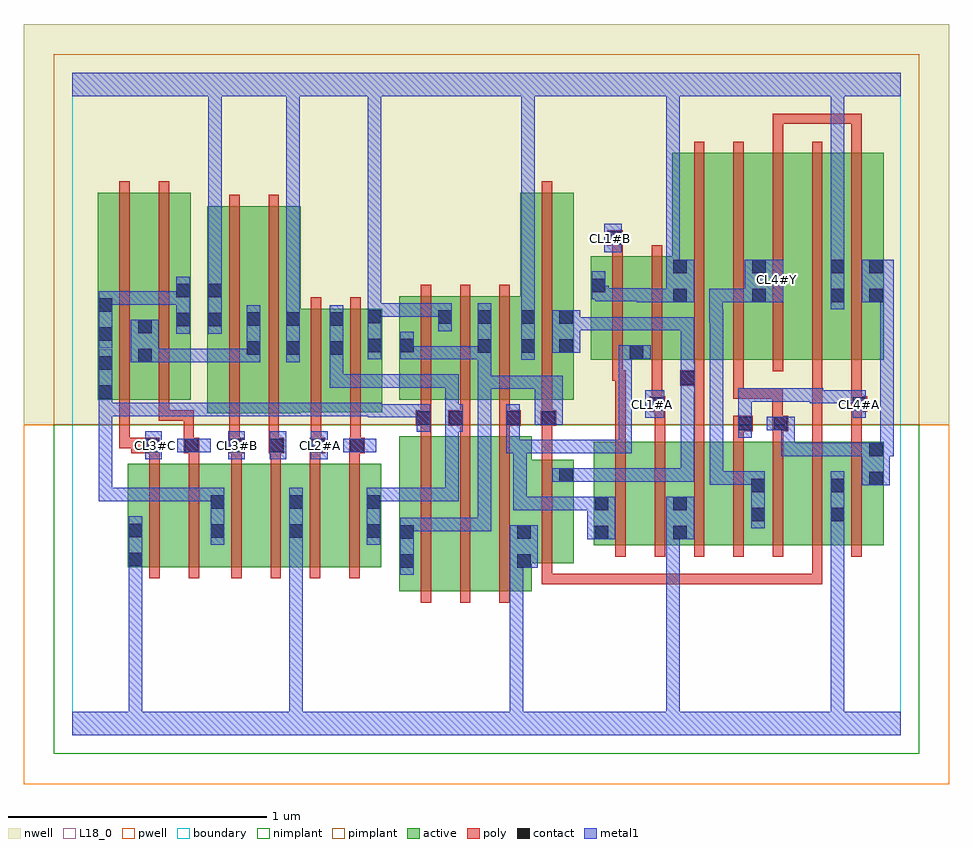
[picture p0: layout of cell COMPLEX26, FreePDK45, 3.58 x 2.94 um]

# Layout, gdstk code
import gdstk
lib = gdstk.Library(unit=1e-6, precision=1e-09)
def R(c, l, rs):  # rectangles x0, y0, x1, y1
    for r in rs: c.add(gdstk.rectangle(r[:2], r[2:], *l))
def A(c, l, x, y, w, h, nx, ny, dx, dy):  # array of equal rectangles
    R(c, l, [(x+i*dx, y+j*dy, x+i*dx+w, y+j*dy+h) for i in range(nx) for j in range(ny)])
active = (1, 0)
pwell = (2, 0)
nwell = (3, 0)
nimplant = (4, 0)
pimplant = (5, 0)
poly = (9, 0)
contact = (10, 0)
metal1 = (11, 0)
L18_0 = (18, 0)
boundary = (235, 0)

complex26 = lib.new_cell('COMPLEX26')
R(complex26, active, [(1.262,0.556,1.442,1.156), (1.262,0.556,1.322,1.156), (1.442,0.556,1.594,1.156), (1.594,0.556,1.774,1.156), (1.714,0.556,1.774,1.064), (0.214,0.65,0.274,1.05), (0.214,0.65,0.394,1.05), (0.394,0.65,0.59,1.05), (0.53,0.65,0.71,1.05), (0.71,0.65,0.894,1.05), (0.834,0.65,1.014,1.05), (1.014,0.65,1.194,1.05), (1.134,0.65,1.194,1.05), (1.714,0.664,1.938,1.064), (2.014,0.734,2.074,1.134), (2.014,0.734,2.194,1.134), (2.194,0.734,2.378,1.134), (2.318,0.734,2.498,1.134), (2.318,0.734,2.378,1.062), (2.498,0.734,2.678,1.134), (2.618,0.734,2.802,1.134), (2.618,0.734,2.678,1.134), (2.802,0.734,2.986,1.134), (2.926,0.734,3.134,1.134), (2.926,0.734,2.986,0.996), (0.53,0.756,0.59,1.05), (0.834,0.756,0.894,1.05), (1.878,0.756,1.938,1.064), (3.074,0.756,3.134,1.134), (0.522,1.244,0.73,2.044), (0.522,1.244,0.582,2.044), (0.67,1.244,0.882,2.044), (0.67,1.244,0.73,2.044), (0.822,1.248,1.05,1.648), (0.822,1.248,0.882,2.044), (0.99,1.248,1.198,1.648), (1.138,1.248,1.198,1.648), (0.098,1.296,0.31,2.096), (0.098,1.296,0.158,2.096), (0.25,1.296,0.458,2.096), (0.25,1.296,0.31,2.044), (0.398,1.296,0.458,2.044), (1.262,1.296,1.47,1.696), (1.262,1.296,1.322,1.644), (1.41,1.296,1.622,1.696), (1.562,1.296,1.79,1.696), (1.73,1.296,1.938,2.096), (1.878,1.296,1.938,2.044), (1.562,1.362,1.622,1.696), (0.99,1.366,1.05,1.648), (2.002,1.45,2.21,1.85), (2.002,1.45,2.062,1.85), (2.15,1.45,2.378,1.85), (2.15,1.45,2.21,1.644), (2.318,1.45,2.498,2.25), (2.498,1.45,2.682,2.25), (2.622,1.45,2.802,2.25), (2.802,1.45,2.986,2.25), (2.926,1.45,3.134,2.25), (3.074,1.45,3.134,2.044), (1.73,1.472,1.79,2.096), (2.318,1.532,2.378,1.842), (2.622,1.532,2.682,2.25), (1.41,1.572,1.47,1.696), (2.926,1.65,2.986,2.25)])
R(complex26, pwell, [(-0.188,-0.188,3.388,1.2)])
R(complex26, nwell, [(-0.188,1.2,3.388,2.748)])
R(complex26, nimplant, [(-0.072,-0.072,3.272,1.2)])
R(complex26, pimplant, [(-0.072,1.2,3.272,2.632)])
A(complex26, poly, 1.346, 0.512, 0.04, 0.688, 3, 1, 0.152, 0)
A(complex26, poly, 0.614, 0.606, 0.04, 0.488, 4, 1, 0.152, 0)
A(complex26, poly, 2.098, 0.69, 0.04, 0.488, 7, 1, 0.152, 0)
A(complex26, poly, 0.614, 1.054, 0.04, 0.076, 4, 1, 0.152, 0)
A(complex26, poly, 1.346, 1.16, 0.04, 0.076, 3, 2, 0.152, 0.056)
A(complex26, poly, 1.346, 1.252, 0.04, 0.488, 3, 1, 0.152, 0)
A(complex26, poly, 2.402, 1.406, 0.04, 0.888, 5, 1, 0.152, 0)
R(complex26, poly, [(1.814,0.584,1.854,0.624), (1.814,0.584,1.854,0.624), (1.814,0.584,1.854,0.624), (1.814,0.584,1.854,0.66), (1.814,0.584,2.164,0.624), (2.124,0.584,2.164,0.624), (2.124,0.584,2.164,0.624), (2.124,0.584,2.164,0.624), (2.124,0.584,2.27,0.624), (2.23,0.584,2.27,0.624), (2.23,0.584,2.27,0.624), (2.23,0.584,2.27,0.624), (2.23,0.584,2.488,0.624), (2.448,0.584,2.488,0.624), (2.448,0.584,2.488,0.624), (2.448,0.584,2.488,0.624), (2.448,0.584,2.594,0.624), (2.554,0.584,2.594,0.624), (2.554,0.584,2.594,0.624), (2.554,0.584,2.594,0.624), (2.554,0.584,2.734,0.624), (2.694,0.584,2.734,0.624), (2.694,0.584,2.734,0.624), (2.694,0.584,2.734,0.624), (2.694,0.584,2.898,0.624), (2.858,0.584,2.898,0.73), (2.858,0.584,2.898,0.624), (2.858,0.584,2.898,0.624), (2.858,0.584,2.898,0.624), (0.298,0.606,0.338,1.094), (0.45,0.606,0.49,1.094), (1.814,0.62,1.854,1.108), (0.298,1.054,0.338,1.13), (0.45,1.054,0.49,1.13), (1.814,1.068,1.854,1.236), (0.228,1.09,0.338,1.15), (0.43,1.09,0.49,1.15), (0.606,1.09,0.666,1.15), (0.758,1.09,0.818,1.15), (0.918,1.09,0.978,1.15), (1.07,1.09,1.13,1.15), (0.182,1.11,0.222,1.292), (0.182,1.11,0.268,1.15), (0.228,1.11,0.268,1.15), (0.43,1.11,0.47,1.256), (0.606,1.11,0.646,1.15), (0.606,1.11,0.646,1.15), (0.606,1.11,0.646,1.24), (0.758,1.11,0.798,1.15), (0.758,1.11,0.798,1.15), (0.758,1.11,0.798,1.24), (0.922,1.11,0.962,1.15), (0.922,1.11,0.962,1.15), (0.922,1.11,0.962,1.244), (1.074,1.11,1.114,1.15), (1.074,1.11,1.114,1.15), (1.074,1.11,1.114,1.244), (2.098,1.138,2.138,1.41), (2.25,1.138,2.29,1.29), (2.402,1.138,2.442,1.39), (2.554,1.138,2.594,1.214), (2.706,1.138,2.746,1.214), (2.858,1.138,2.898,1.41), (3.01,1.138,3.05,1.29), (2.554,1.174,2.628,1.234), (2.704,1.174,2.766,1.234), (2.704,1.194,2.744,1.34), (2.704,1.194,2.744,1.234), (2.704,1.194,2.744,1.234), (1.326,1.196,1.386,1.256), (1.346,1.196,1.386,1.236), (1.346,1.196,1.386,1.236), (1.452,1.196,1.538,1.256), (1.498,1.196,1.538,1.236), (1.498,1.196,1.538,1.236), (1.65,1.196,1.732,1.256), (1.81,1.196,1.87,1.256), (1.814,1.196,1.854,1.236), (1.814,1.196,1.854,1.236), (0.606,1.2,0.646,2.088), (0.758,1.2,0.798,2.088), (0.922,1.204,0.962,1.692), (1.074,1.204,1.114,1.692), (0.334,1.216,0.374,1.292), (0.334,1.216,0.47,1.256), (1.65,1.216,1.69,1.256), (1.65,1.216,1.69,1.256), (1.814,1.216,1.854,1.292), (2.23,1.25,2.29,1.31), (3.01,1.25,3.05,1.29), (3.01,1.25,3.05,1.29), (3.01,1.25,3.07,1.31), (0.182,1.252,0.222,2.14), (0.334,1.252,0.374,2.14), (1.814,1.252,1.854,2.14), (2.238,1.27,2.278,1.31), (2.238,1.27,2.278,1.31), (2.238,1.27,2.278,1.446), (3.01,1.27,3.05,1.446), (2.554,1.3,2.594,1.446), (2.554,1.3,2.594,1.34), (2.554,1.3,2.744,1.34), (2.704,1.3,2.744,1.34), (2.348,1.35,2.442,1.41), (2.402,1.35,2.442,1.39), (2.402,1.35,2.442,1.39), (2.086,1.37,2.126,1.446), (2.086,1.37,2.138,1.41), (2.098,1.37,2.138,1.41), (2.098,1.37,2.138,1.41), (2.402,1.37,2.442,1.446), (2.858,1.37,2.898,1.41), (2.858,1.37,2.898,1.41), (2.858,1.37,2.898,1.41), (2.858,1.37,2.898,1.446), (2.086,1.406,2.126,1.894), (2.238,1.406,2.278,1.894), (2.086,1.854,2.126,1.932), (2.066,1.892,2.126,1.952), (2.706,2.254,2.746,2.402), (3.01,2.254,3.05,2.4), (3.01,2.36,3.05,2.4), (3.01,2.36,3.05,2.4), (3.01,2.36,3.05,2.402), (2.706,2.362,2.746,2.402), (2.706,2.362,2.882,2.402), (2.842,2.362,2.882,2.402), (2.842,2.362,2.882,2.402), (2.842,2.362,2.882,2.402), (2.842,2.362,3.05,2.402)])
A(complex26, contact, 0.102, 1.3, 0.052, 0.052, 1, 4, 0, 0.112)
A(complex26, contact, 2.322, 1.674, 0.052, 0.052, 3, 2, 0.304, 0.112)
R(complex26, contact, [(1.266,0.648,1.318,0.7), (1.718,0.648,1.77,0.7), (0.218,0.654,0.27,0.706), (2.018,0.758,2.07,0.81), (2.322,0.758,2.374,0.81), (1.266,0.76,1.318,0.812), (1.718,0.76,1.77,0.812), (0.534,0.764,0.586,0.816), (0.838,0.764,0.89,0.816), (1.138,0.764,1.19,0.816), (0.218,0.766,0.27,0.818), (2.622,0.828,2.674,0.88), (2.93,0.828,2.982,0.88), (2.018,0.87,2.07,0.922), (2.322,0.87,2.374,0.922), (0.534,0.876,0.586,0.928), (0.838,0.876,0.89,0.928), (1.138,0.876,1.19,0.928), (2.622,0.94,2.674,0.992), (2.93,0.94,2.982,0.992), (3.078,0.966,3.13,1.018), (1.882,0.98,1.934,1.032), (3.078,1.078,3.13,1.13), (0.282,1.094,0.334,1.146), (0.434,1.094,0.486,1.146), (0.61,1.094,0.662,1.146), (0.762,1.094,0.814,1.146), (0.922,1.094,0.974,1.146), (1.074,1.094,1.126,1.146), (2.572,1.178,2.624,1.23), (2.71,1.178,2.762,1.23), (1.33,1.2,1.382,1.252), (1.456,1.2,1.508,1.252), (1.676,1.2,1.728,1.252), (1.814,1.2,1.866,1.252), (2.234,1.254,2.286,1.306), (3.014,1.254,3.066,1.306), (2.352,1.354,2.404,1.406), (0.254,1.442,0.306,1.494), (2.154,1.454,2.206,1.506), (0.674,1.47,0.726,1.522), (0.826,1.47,0.878,1.522), (0.994,1.47,1.046,1.522), (1.566,1.478,1.618,1.53), (1.734,1.478,1.786,1.53), (1.882,1.478,1.934,1.53), (1.142,1.48,1.194,1.532), (1.266,1.48,1.318,1.532), (0.254,1.554,0.306,1.606), (0.402,1.58,0.454,1.632), (0.526,1.58,0.578,1.632), (0.674,1.582,0.726,1.634), (0.826,1.582,0.878,1.634), (0.994,1.582,1.046,1.634), (1.414,1.59,1.466,1.642), (1.566,1.59,1.618,1.642), (1.734,1.59,1.786,1.642), (1.882,1.59,1.934,1.642), (1.142,1.592,1.194,1.644), (3.078,1.674,3.13,1.726), (0.402,1.692,0.454,1.744), (0.526,1.692,0.578,1.744), (2.006,1.712,2.058,1.764), (3.078,1.786,3.13,1.838), (2.07,1.896,2.122,1.948)])
A(complex26, metal1, 0.602, 1.066, 0.064, 0.108, 3, 1, 0.16, 0)
R(complex26, metal1, [(0,0,3.2,0.092), (0.218,0.04,0.27,0.092), (0.218,0.04,0.27,0.092), (0.218,0.04,0.27,0.092), (0.218,0.04,0.27,0.092), (0.218,0.04,0.27,0.092), (0.218,0.04,0.27,0.092), (0.218,0.04,0.27,0.092), (0.218,0.04,0.27,0.092), (0.218,0.04,0.27,0.092), (0.218,0.04,0.27,0.092), (0.218,0.04,0.27,0.092), (0.218,0.04,0.27,0.092), (0.218,0.04,0.27,0.678), (0.838,0.04,0.89,0.788), (1.69,0.04,1.742,0.092), (1.69,0.04,1.742,0.092), (1.69,0.04,1.742,0.092), (1.69,0.04,1.742,0.092), (1.69,0.04,1.742,0.092), (1.69,0.04,1.742,0.092), (1.69,0.04,1.742,0.7), (2.294,0.04,2.346,0.092), (2.294,0.04,2.346,0.092), (2.294,0.04,2.346,0.092), (2.294,0.04,2.346,0.092), (2.294,0.04,2.346,0.81), (2.93,0.04,2.982,0.852), (1.266,0.62,1.318,0.84), (0.218,0.626,0.27,0.846), (1.69,0.648,1.742,0.7), (1.69,0.648,1.742,0.7), (1.69,0.648,1.798,0.812), (0.534,0.736,0.586,0.956), (0.838,0.736,0.89,0.788), (0.838,0.736,0.89,0.788), (0.838,0.736,0.89,0.788), (0.838,0.736,0.89,0.788), (0.838,0.736,0.89,0.788), (0.838,0.736,0.89,0.788), (0.838,0.736,0.89,0.788), (0.838,0.736,0.89,0.788), (0.838,0.736,0.89,0.788), (0.838,0.736,0.89,0.788), (0.838,0.736,0.89,0.788), (0.838,0.736,0.89,0.788), (0.838,0.736,0.89,0.956), (1.138,0.736,1.19,0.956), (1.99,0.758,2.098,0.922), (2.294,0.758,2.346,0.81), (2.294,0.758,2.346,0.81), (2.294,0.758,2.346,0.81), (2.294,0.758,2.346,0.81), (2.294,0.758,2.346,0.81), (2.294,0.758,2.346,0.81), (2.294,0.758,2.346,0.81), (2.294,0.758,2.346,0.81), (2.294,0.758,2.402,0.922), (1.266,0.788,1.318,0.84), (1.266,0.788,1.318,0.84), (1.266,0.788,1.492,0.84), (1.44,0.788,1.492,0.84), (1.44,0.788,1.492,0.84), (1.44,0.788,1.492,0.84), (1.44,0.788,1.492,0.84), (1.44,0.788,1.492,0.84), (1.44,0.788,1.618,0.84), (1.566,0.788,1.618,0.84), (1.566,0.788,1.618,1.39), (2.622,0.8,2.674,1.02), (2.93,0.8,2.982,0.852), (2.93,0.8,2.982,0.852), (2.93,0.8,2.982,0.852), (2.93,0.8,2.982,0.852), (2.93,0.8,2.982,0.852), (2.93,0.8,2.982,0.852), (2.93,0.8,2.982,0.852), (2.93,0.8,2.982,0.852), (2.93,0.8,2.982,0.852), (2.93,0.8,2.982,0.852), (2.93,0.8,2.982,0.852), (2.93,0.8,2.982,0.852), (2.93,0.8,2.982,1.02), (1.704,0.87,1.756,0.922), (1.704,0.87,1.838,0.922), (1.704,0.87,1.756,1.142), (1.786,0.87,1.838,0.922), (1.786,0.87,1.962,0.922), (1.91,0.87,1.962,0.922), (1.91,0.87,2.042,0.922), (0.102,0.904,0.154,0.956), (0.102,0.904,0.154,0.956), (0.102,0.904,0.154,0.956), (0.102,0.904,0.154,0.956), (0.102,0.904,0.154,0.956), (0.102,0.904,0.264,0.956), (0.102,0.904,0.154,1.284), (0.212,0.904,0.264,0.956), (0.212,0.904,0.264,0.956), (0.212,0.904,0.264,0.956), (0.212,0.904,0.586,0.956), (1.138,0.904,1.304,0.956), (1.252,0.904,1.304,0.956), (1.252,0.904,1.304,0.956), (1.252,0.904,1.304,0.956), (1.252,0.904,1.304,0.956), (1.252,0.904,1.304,0.956), (1.252,0.904,1.492,0.956), (1.44,0.904,1.492,0.956), (1.44,0.904,1.492,1.28), (3.05,0.966,3.158,1.13), (2.462,0.968,2.514,1.02), (2.462,0.968,2.514,1.02), (2.462,0.968,2.514,1.02), (2.462,0.968,2.514,1.02), (2.462,0.968,2.514,1.02), (2.462,0.968,2.674,1.02), (2.462,0.968,2.514,1.646), (1.854,0.98,1.962,1.032), (1.91,0.98,1.962,1.032), (1.91,0.98,1.962,1.032), (1.91,0.98,2.072,1.032), (2.02,0.98,2.072,1.032), (2.02,0.98,2.236,1.032), (2.184,0.98,2.236,1.032), (2.184,0.98,2.236,1.032), (2.184,0.98,2.236,1.032), (2.184,0.98,2.402,1.032), (2.35,0.98,2.402,1.032), (2.35,0.98,2.402,1.378), (0.282,1.066,0.346,1.174), (2.738,1.078,2.79,1.13), (2.738,1.078,2.956,1.13), (2.738,1.078,2.79,1.23), (2.904,1.078,2.956,1.13), (2.904,1.078,2.956,1.13), (2.904,1.078,2.956,1.13), (2.904,1.078,3.102,1.13), (3.05,1.078,3.102,1.13), (3.05,1.078,3.102,1.13), (3.106,1.078,3.158,1.13), (3.106,1.078,3.174,1.13), (3.122,1.078,3.174,1.726), (3.122,1.078,3.174,1.13), (3.122,1.078,3.174,1.13), (1.676,1.09,1.728,1.142), (1.676,1.09,1.728,1.224), (1.676,1.09,1.838,1.142), (1.676,1.09,1.756,1.142), (1.786,1.09,1.838,1.142), (1.786,1.09,1.962,1.142), (1.91,1.09,1.962,1.142), (1.91,1.09,1.962,1.142), (1.91,1.09,1.962,1.142), (1.91,1.09,2.072,1.142), (2.02,1.09,2.072,1.142), (2.02,1.09,2.162,1.142), (2.11,1.09,2.162,1.142), (2.11,1.09,2.162,1.506), (0.406,1.094,0.534,1.146), (1.046,1.094,1.174,1.146), (2.572,1.15,2.624,1.258), (1.33,1.172,1.382,1.28), (1.456,1.172,1.508,1.28), (1.676,1.172,1.728,1.224), (1.676,1.172,1.728,1.28), (2.682,1.178,2.79,1.23), (2.736,1.178,2.788,1.23), (2.736,1.178,2.79,1.23), (1.786,1.2,1.894,1.39), (2.572,1.206,2.624,1.258), (2.572,1.206,2.624,1.258), (2.572,1.206,2.624,1.34), (2.214,1.226,2.286,1.334), (3.014,1.226,3.066,1.334), (1.142,1.228,1.382,1.28), (1.142,1.228,1.194,1.284), (1.44,1.228,1.492,1.28), (1.44,1.228,1.508,1.28), (1.44,1.228,1.492,1.394), (0.102,1.232,0.154,1.284), (0.102,1.232,0.154,1.284), (0.102,1.232,0.154,1.284), (0.102,1.232,0.344,1.284), (0.102,1.232,0.154,1.324), (0.292,1.232,0.344,1.284), (0.292,1.232,0.456,1.284), (0.404,1.232,0.456,1.284), (0.404,1.232,0.456,1.284), (0.404,1.232,0.456,1.284), (0.404,1.232,0.606,1.284), (0.554,1.232,0.606,1.284), (0.554,1.232,0.606,1.284), (0.554,1.232,0.606,1.284), (0.554,1.232,0.716,1.284), (0.664,1.232,0.716,1.284), (0.664,1.232,0.776,1.284), (0.724,1.232,0.776,1.284), (0.724,1.232,0.826,1.284), (0.774,1.232,0.826,1.284), (0.774,1.232,0.936,1.284), (0.884,1.232,0.936,1.284), (0.884,1.232,0.936,1.284), (0.884,1.232,0.936,1.284), (0.884,1.232,1.066,1.284), (1.014,1.232,1.066,1.284), (1.014,1.232,1.194,1.284), (1.142,1.232,1.194,1.284), (1.142,1.232,1.194,1.284), (0.102,1.272,0.154,1.492), (2.848,1.282,2.9,1.334), (2.848,1.282,2.9,1.334), (2.848,1.282,3.066,1.334), (2.848,1.282,2.9,1.34), (2.572,1.288,2.624,1.34), (2.572,1.288,2.788,1.34), (2.736,1.288,2.788,1.34), (2.736,1.288,2.788,1.34), (2.736,1.288,2.788,1.34), (2.736,1.288,2.9,1.34), (2.35,1.326,2.402,1.378), (2.35,1.326,2.402,1.378), (2.35,1.326,2.402,1.378), (2.35,1.326,2.402,1.378), (2.35,1.326,2.404,1.434), (2.35,1.326,2.402,1.616), (1.566,1.338,1.618,1.39), (1.566,1.338,1.618,1.39), (1.566,1.338,1.618,1.39), (1.566,1.338,1.618,1.39), (1.566,1.338,1.618,1.39), (1.566,1.338,1.618,1.39), (1.566,1.338,1.618,1.39), (1.566,1.338,1.728,1.39), (1.566,1.338,1.618,1.502), (1.676,1.338,1.728,1.39), (1.676,1.338,1.838,1.39), (0.994,1.342,1.046,1.494), (0.994,1.342,1.18,1.394), (1.128,1.342,1.18,1.394), (1.128,1.342,1.304,1.394), (1.252,1.342,1.304,1.394), (1.252,1.342,1.304,1.394), (1.252,1.342,1.304,1.394), (1.252,1.342,1.492,1.394), (1.44,1.342,1.492,1.394), (0.226,1.442,0.334,1.606), (0.282,1.442,0.334,1.494), (0.282,1.442,0.334,1.494), (0.282,1.442,0.456,1.494), (0.404,1.442,0.456,1.494), (0.404,1.442,0.606,1.494), (0.554,1.442,0.606,1.494), (0.554,1.442,0.606,1.494), (0.554,1.442,0.606,1.494), (0.554,1.442,0.726,1.494), (0.674,1.442,0.726,1.662), (0.826,1.442,0.878,1.662), (0.994,1.442,1.046,1.494), (0.994,1.442,1.046,1.662), (1.566,1.45,1.618,1.67), (1.734,1.45,1.786,1.67), (1.142,1.452,1.194,1.672), (1.266,1.452,1.318,1.504), (1.266,1.452,1.318,1.504), (1.266,1.452,1.318,1.56), (1.266,1.452,1.508,1.504), (1.456,1.452,1.508,1.504), (1.456,1.452,1.508,1.504), (1.456,1.452,1.508,1.504), (1.456,1.452,1.618,1.504), (2.11,1.454,2.178,1.506), (2.126,1.454,2.178,1.506), (2.126,1.454,2.234,1.506), (1.854,1.478,1.962,1.642), (0.102,1.496,0.154,1.716), (0.402,1.552,0.454,1.772), (0.526,1.552,0.578,1.772), (1.414,1.562,1.466,1.67), (1.91,1.564,1.962,1.616), (1.91,1.564,1.962,1.616), (1.91,1.564,2.072,1.616), (2.02,1.564,2.072,1.616), (2.02,1.564,2.232,1.616), (2.18,1.564,2.232,1.616), (2.18,1.564,2.232,1.616), (2.18,1.564,2.232,1.616), (2.18,1.564,2.402,1.616), (2.35,1.564,2.402,1.616), (2.35,1.564,2.402,1.616), (2.35,1.564,2.402,1.616), (2.46,1.594,2.514,1.646), (2.46,1.594,2.512,1.726), (2.462,1.594,2.514,1.646), (2.462,1.594,2.514,1.646), (0.826,1.61,0.878,1.662), (0.826,1.61,0.878,1.662), (0.826,1.61,0.878,2.52), (1.142,1.618,1.304,1.67), (1.252,1.618,1.304,1.67), (1.252,1.618,1.304,1.67), (1.252,1.618,1.304,1.67), (1.252,1.618,1.466,1.67), (1.734,1.618,1.786,2.52), (1.142,1.62,1.194,1.672), (1.142,1.62,1.194,1.672), (1.142,1.62,1.194,1.672), (1.142,1.62,1.194,1.672), (1.142,1.62,1.194,1.672), (1.142,1.62,1.194,1.672), (1.142,1.62,1.194,1.672), (1.142,1.62,1.194,1.672), (1.142,1.62,1.194,2.52), (2.93,1.646,2.982,1.866), (0.102,1.664,0.154,1.716), (0.102,1.664,0.154,1.716), (0.102,1.664,0.344,1.716), (0.292,1.664,0.344,1.716), (0.292,1.664,0.344,1.716), (0.292,1.664,0.344,1.716), (0.292,1.664,0.454,1.716), (2.18,1.674,2.232,1.726), (2.18,1.674,2.232,1.726), (2.18,1.674,2.232,1.726), (2.18,1.674,2.232,1.726), (2.18,1.674,2.232,1.726), (2.18,1.674,2.232,1.726), (2.18,1.674,2.346,1.726), (2.18,1.674,2.232,1.728), (2.18,1.674,2.232,1.728), (2.18,1.674,2.232,1.728), (2.18,1.674,2.232,1.728), (2.18,1.674,2.232,1.728), (2.294,1.674,2.402,1.838), (2.46,1.674,2.512,1.726), (2.46,1.674,2.514,1.726), (2.462,1.674,2.514,1.726), (2.462,1.674,2.65,1.726), (2.598,1.674,2.65,1.726), (2.598,1.674,2.65,1.726), (2.598,1.674,2.65,1.726), (2.598,1.674,2.65,1.726), (2.598,1.674,2.746,1.838), (3.05,1.674,3.174,1.838), (2.02,1.676,2.232,1.728), (2.02,1.676,2.072,1.736), (2.006,1.684,2.058,1.792), (2.006,1.684,2.072,1.736), (0.526,1.72,0.578,1.772), (0.526,1.72,0.578,1.772), (0.526,1.72,0.578,2.52), (2.294,1.786,2.346,2.52), (2.93,1.814,2.982,2.52), (2.054,1.866,2.122,1.976), (0,2.468,3.2,2.56), (0.526,2.468,0.578,2.52), (0.526,2.468,0.578,2.52), (0.526,2.468,0.578,2.52), (0.526,2.468,0.578,2.52), (0.526,2.468,0.578,2.52), (0.526,2.468,0.578,2.52), (0.826,2.468,0.878,2.52), (0.826,2.468,0.878,2.52), (0.826,2.468,0.878,2.52), (0.826,2.468,0.878,2.52), (0.826,2.468,0.878,2.52), (0.826,2.468,0.878,2.52), (1.142,2.468,1.194,2.52), (1.142,2.468,1.194,2.52), (1.142,2.468,1.194,2.52), (1.142,2.468,1.194,2.52), (1.142,2.468,1.194,2.52), (1.142,2.468,1.194,2.52), (1.142,2.468,1.194,2.52), (1.142,2.468,1.194,2.52), (1.734,2.468,1.786,2.52), (1.734,2.468,1.786,2.52), (1.734,2.468,1.786,2.52), (1.734,2.468,1.786,2.52), (1.734,2.468,1.786,2.52), (1.734,2.468,1.786,2.52), (1.734,2.468,1.786,2.52), (1.734,2.468,1.786,2.52), (2.294,2.468,2.346,2.52), (2.294,2.468,2.346,2.52), (2.294,2.468,2.346,2.52), (2.294,2.468,2.346,2.52), (2.294,2.468,2.346,2.52), (2.294,2.468,2.346,2.52), (2.294,2.468,2.346,2.52), (2.294,2.468,2.346,2.52), (2.93,2.468,2.982,2.52), (2.93,2.468,2.982,2.52), (2.93,2.468,2.982,2.52), (2.93,2.468,2.982,2.52), (2.93,2.468,2.982,2.52), (2.93,2.468,2.982,2.52), (2.93,2.468,2.982,2.52), (2.93,2.468,2.982,2.52)])
A(complex26, L18_0, 0.602, 1.066, 0.064, 0.108, 3, 1, 0.16, 0)
A(complex26, L18_0, 0.294, 1.094, 0.052, 0.052, 6, 1, 0.16, 0)
R(complex26, L18_0, [(0,0,3.2,0.092), (0.218,0.04,0.27,0.092), (0.218,0.04,0.27,0.092), (0.218,0.04,0.27,0.092), (0.218,0.04,0.27,0.092), (0.218,0.04,0.27,0.092), (0.218,0.04,0.27,0.092), (0.218,0.04,0.27,0.092), (0.218,0.04,0.27,0.092), (0.218,0.04,0.27,0.092), (0.218,0.04,0.27,0.092), (0.218,0.04,0.27,0.092), (0.218,0.04,0.27,0.092), (0.218,0.04,0.27,0.678), (0.838,0.04,0.89,0.788), (1.69,0.04,1.742,0.092), (1.69,0.04,1.742,0.092), (1.69,0.04,1.742,0.092), (1.69,0.04,1.742,0.092), (1.69,0.04,1.742,0.092), (1.69,0.04,1.742,0.092), (1.69,0.04,1.742,0.7), (2.294,0.04,2.346,0.092), (2.294,0.04,2.346,0.092), (2.294,0.04,2.346,0.092), (2.294,0.04,2.346,0.092), (2.294,0.04,2.346,0.81), (2.93,0.04,2.982,0.852), (0.218,0.626,0.27,0.846), (1.69,0.648,1.742,0.7), (1.69,0.648,1.742,0.7), (1.69,0.648,1.798,0.812), (0.838,0.736,0.89,0.788), (0.838,0.736,0.89,0.788), (0.838,0.736,0.89,0.788), (0.838,0.736,0.89,0.788), (0.838,0.736,0.89,0.788), (0.838,0.736,0.89,0.788), (0.838,0.736,0.89,0.788), (0.838,0.736,0.89,0.788), (0.838,0.736,0.89,0.788), (0.838,0.736,0.89,0.788), (0.838,0.736,0.89,0.788), (0.838,0.736,0.89,0.788), (0.838,0.736,0.89,0.956), (2.294,0.758,2.346,0.81), (2.294,0.758,2.346,0.81), (2.294,0.758,2.346,0.81), (2.294,0.758,2.346,0.81), (2.294,0.758,2.346,0.81), (2.294,0.758,2.346,0.81), (2.294,0.758,2.346,0.81), (2.294,0.758,2.346,0.81), (2.294,0.758,2.402,0.922), (2.622,0.8,2.674,1.02), (2.93,0.8,2.982,0.852), (2.93,0.8,2.982,0.852), (2.93,0.8,2.982,0.852), (2.93,0.8,2.982,0.852), (2.93,0.8,2.982,0.852), (2.93,0.8,2.982,0.852), (2.93,0.8,2.982,0.852), (2.93,0.8,2.982,0.852), (2.93,0.8,2.982,0.852), (2.93,0.8,2.982,0.852), (2.93,0.8,2.982,0.852), (2.93,0.8,2.982,0.852), (2.93,0.8,2.982,1.02), (2.462,0.968,2.514,1.02), (2.462,0.968,2.514,1.02), (2.462,0.968,2.514,1.02), (2.462,0.968,2.514,1.02), (2.462,0.968,2.514,1.02), (2.462,0.968,2.674,1.02), (2.462,0.968,2.514,1.646), (0.282,1.066,0.346,1.174), (0.406,1.094,0.534,1.146), (1.046,1.094,1.174,1.146), (2.572,1.15,2.624,1.258), (2.572,1.206,2.624,1.258), (2.572,1.206,2.624,1.258), (2.572,1.206,2.624,1.34), (2.214,1.226,2.286,1.334), (3.014,1.226,3.066,1.334), (2.214,1.254,2.266,1.306), (3.014,1.254,3.066,1.306), (2.848,1.282,2.9,1.334), (2.848,1.282,2.9,1.334), (2.848,1.282,2.9,1.34), (2.848,1.282,3.066,1.334), (2.572,1.288,2.624,1.34), (2.572,1.288,2.788,1.34), (2.736,1.288,2.788,1.34), (2.736,1.288,2.788,1.34), (2.736,1.288,2.788,1.34), (2.736,1.288,2.9,1.34), (0.826,1.442,0.878,1.662), (1.734,1.45,1.786,1.67), (1.142,1.452,1.194,1.672), (0.526,1.552,0.578,1.772), (1.414,1.562,1.466,1.67), (2.46,1.594,2.514,1.646), (2.46,1.594,2.512,1.726), (2.462,1.594,2.514,1.646), (2.462,1.594,2.514,1.646), (0.826,1.61,0.878,1.662), (0.826,1.61,0.878,1.662), (0.826,1.61,0.878,2.52), (1.142,1.618,1.304,1.67), (1.252,1.618,1.304,1.67), (1.252,1.618,1.304,1.67), (1.252,1.618,1.304,1.67), (1.252,1.618,1.466,1.67), (1.734,1.618,1.786,2.52), (1.142,1.62,1.194,1.672), (1.142,1.62,1.194,1.672), (1.142,1.62,1.194,1.672), (1.142,1.62,1.194,1.672), (1.142,1.62,1.194,1.672), (1.142,1.62,1.194,1.672), (1.142,1.62,1.194,1.672), (1.142,1.62,1.194,1.672), (1.142,1.62,1.194,2.52), (2.93,1.646,2.982,1.866), (2.18,1.674,2.232,1.726), (2.18,1.674,2.232,1.726), (2.18,1.674,2.232,1.726), (2.18,1.674,2.232,1.726), (2.18,1.674,2.232,1.726), (2.18,1.674,2.232,1.726), (2.18,1.674,2.232,1.728), (2.18,1.674,2.232,1.728), (2.18,1.674,2.232,1.728), (2.18,1.674,2.232,1.728), (2.18,1.674,2.232,1.728), (2.18,1.674,2.346,1.726), (2.294,1.674,2.402,1.838), (2.46,1.674,2.512,1.726), (2.46,1.674,2.514,1.726), (2.462,1.674,2.514,1.726), (2.462,1.674,2.65,1.726), (2.598,1.674,2.65,1.726), (2.598,1.674,2.65,1.726), (2.598,1.674,2.65,1.726), (2.598,1.674,2.65,1.726), (2.598,1.674,2.746,1.838), (2.02,1.676,2.072,1.736), (2.02,1.676,2.232,1.728), (2.006,1.684,2.058,1.792), (2.006,1.684,2.072,1.736), (0.526,1.72,0.578,1.772), (0.526,1.72,0.578,1.772), (0.526,1.72,0.578,2.52), (2.694,1.734,2.746,1.786), (2.294,1.786,2.346,2.52), (2.93,1.814,2.982,2.52), (2.054,1.866,2.122,1.976), (2.054,1.894,2.106,1.946), (0,2.468,3.2,2.56), (0.526,2.468,0.578,2.52), (0.526,2.468,0.578,2.52), (0.526,2.468,0.578,2.52), (0.526,2.468,0.578,2.52), (0.526,2.468,0.578,2.52), (0.526,2.468,0.578,2.52), (0.826,2.468,0.878,2.52), (0.826,2.468,0.878,2.52), (0.826,2.468,0.878,2.52), (0.826,2.468,0.878,2.52), (0.826,2.468,0.878,2.52), (0.826,2.468,0.878,2.52), (1.142,2.468,1.194,2.52), (1.142,2.468,1.194,2.52), (1.142,2.468,1.194,2.52), (1.142,2.468,1.194,2.52), (1.142,2.468,1.194,2.52), (1.142,2.468,1.194,2.52), (1.142,2.468,1.194,2.52), (1.142,2.468,1.194,2.52), (1.734,2.468,1.786,2.52), (1.734,2.468,1.786,2.52), (1.734,2.468,1.786,2.52), (1.734,2.468,1.786,2.52), (1.734,2.468,1.786,2.52), (1.734,2.468,1.786,2.52), (1.734,2.468,1.786,2.52), (1.734,2.468,1.786,2.52), (2.294,2.468,2.346,2.52), (2.294,2.468,2.346,2.52), (2.294,2.468,2.346,2.52), (2.294,2.468,2.346,2.52), (2.294,2.468,2.346,2.52), (2.294,2.468,2.346,2.52), (2.294,2.468,2.346,2.52), (2.294,2.468,2.346,2.52), (2.93,2.468,2.982,2.52), (2.93,2.468,2.982,2.52), (2.93,2.468,2.982,2.52), (2.93,2.468,2.982,2.52), (2.93,2.468,2.982,2.52), (2.93,2.468,2.982,2.52), (2.93,2.468,2.982,2.52), (2.93,2.468,2.982,2.52)])
R(complex26, boundary, [(0,0,3.2,2.56)])
complex26.add(gdstk.Label('CL1#A', (2.24,1.28), layer=11, texttype=0))
complex26.add(gdstk.Label('CL1#B', (2.08,1.92), layer=11, texttype=0))
complex26.add(gdstk.Label('CL2#A', (0.96,1.12), layer=11, texttype=0))
complex26.add(gdstk.Label('CL2#B', (1.12,1.12), layer=11, texttype=0))
complex26.add(gdstk.Label('CL3#A', (0.8,1.12), layer=11, texttype=0))
complex26.add(gdstk.Label('CL3#B', (0.64,1.12), layer=11, texttype=0))
complex26.add(gdstk.Label('CL3#C', (0.32,1.12), layer=11, texttype=0))
complex26.add(gdstk.Label('CL3#D', (0.48,1.12), layer=11, texttype=0))
complex26.add(gdstk.Label('CL4#A', (3.04,1.28), layer=11, texttype=0))
complex26.add(gdstk.Label('CL4#Y', (2.72,1.76), layer=11, texttype=0))

lib.write_gds('COMPLEX26.gds')
